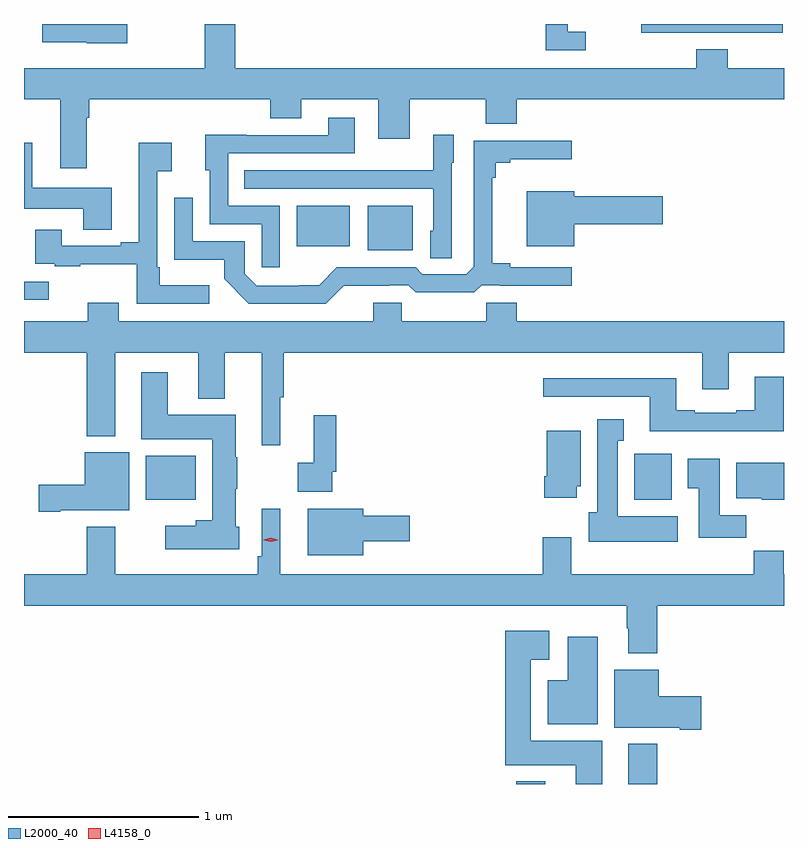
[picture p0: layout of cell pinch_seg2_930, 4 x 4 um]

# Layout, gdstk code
import gdstk
lib = gdstk.Library(unit=1e-6, precision=1e-09)
def R(c, l, rs):  # rectangles x0, y0, x1, y1
    for r in rs: c.add(gdstk.rectangle(r[:2], r[2:], *l))
def P(c, l, *ps):  # polygons
    for p in ps: c.add(gdstk.Polygon(p, *l))
L2000_40 = (2000, 40)
L4158_0 = (4158, 0)

pinch_seg2_930 = lib.new_cell('pinch_seg2_930')
R(pinch_seg2_930, L2000_40, [(362.321,648.029,362.473,648.043), (362.909,648.029,363.062,648.241), (360.371,649.526,360.634,649.756), (362.942,649.526,363.139,649.768), (359.73,650.579,359.86,650.673), (361.538,650.837,361.777,651.073), (361.166,650.858,361.444,651.073), (362.979,651.984,363.724,652.029)])
P(pinch_seg2_930, L2000_40, [(360.061,651.536),(360.074,651.536),(360.074,651.632),(361.025,651.632),(361.025,651.533),(361.189,651.533),(361.189,651.632),(361.595,651.632),(361.595,651.426),(361.759,651.426),(361.759,651.632),(362.159,651.632),(362.159,651.504),(362.323,651.504),(362.323,651.632),(363.73,651.632),(363.73,651.796),(363.434,651.796),(363.434,651.895),(363.269,651.895),(363.269,651.796),(360.842,651.796),(360.842,652.029),(360.682,652.029),(360.682,651.796),(359.73,651.796),(359.73,651.632),(359.921,651.632),(359.921,651.27),(360.061,651.27)],
  [(362.686,651.988),(362.592,651.988),(362.592,652.029),(362.476,652.029),(362.476,651.891),(362.686,651.891)],
  [(360.274,652.029),(359.826,652.029),(359.826,651.932),(360.06,651.932),(360.06,651.929),(360.274,651.929)],
  [(361.077,651.072),(360.804,651.072),(360.804,651.348),(361.471,651.348),(361.471,651.535),(361.331,651.535),(361.331,651.444),(360.901,651.444),(360.901,651.446),(360.683,651.446),(360.683,651.258),(360.708,651.258),(360.708,650.976),(360.981,650.976),(360.981,650.748),(361.077,650.748)],
  [(361.98,651.3),(361.993,651.3),(361.993,651.445),(361.884,651.445),(361.884,651.259),(361.567,651.259),(361.567,651.258),(360.889,651.258),(360.889,651.162),(361.884,651.162),(361.884,650.94),(361.868,650.94),(361.868,650.797),(361.98,650.797)],
  [(361.412,650.651),(361.652,650.651),(361.652,650.655),(361.752,650.655),(361.792,650.616),(362.099,650.616),(362.139,650.655),(362.233,650.655),(362.233,650.651),(362.614,650.651),(362.614,650.748),(362.29,650.748),(362.29,650.771),(362.195,650.771),(362.195,651.221),(362.213,651.221),(362.213,651.298),(362.29,651.298),(362.29,651.317),(362.614,651.317),(362.614,651.414),(362.097,651.414),(362.097,650.751),(362.058,650.712),(361.827,650.712),(361.791,650.748),(361.377,650.748),(361.283,650.654),(361.178,650.654),(361.178,650.652),(360.954,650.652),(360.891,650.715),(360.891,650.886),(360.618,650.886),(360.618,651.115),(360.522,651.115),(360.522,650.789),(360.784,650.789),(360.784,650.687),(360.914,650.556),(361.317,650.556)],
  [(360.193,651.166),(359.773,651.166),(359.773,651.403),(359.73,651.403),(359.73,651.056),(360.041,651.056),(360.041,650.947),(360.193,650.947)],
  [(360.706,650.653),(360.445,650.653),(360.445,650.749),(360.432,650.749),(360.432,651.254),(360.508,651.254),(360.508,651.403),(360.335,651.403),(360.335,650.881),(360.239,650.881),(360.239,650.862),(359.929,650.862),(359.929,650.947),(359.789,650.947),(359.789,650.766),(359.893,650.766),(359.893,650.754),(360.025,650.754),(360.025,650.765),(360.324,650.765),(360.324,650.556),(360.706,650.556)],
  [(362.626,650.975),(363.091,650.975),(363.091,651.122),(362.626,651.122),(362.626,651.148),(362.375,651.148),(362.375,650.858),(362.626,650.858)],
  [(361.079,650.064),(361.097,650.064),(361.097,650.3),(363.299,650.3),(363.299,650.106),(363.439,650.106),(363.439,650.3),(363.73,650.3),(363.73,650.464),(362.324,650.464),(362.324,650.562),(362.164,650.562),(362.164,650.464),(361.719,650.464),(361.719,650.562),(361.568,650.562),(361.568,650.464),(360.229,650.464),(360.229,650.563),(360.065,650.563),(360.065,650.464),(359.73,650.464),(359.73,650.3),(360.059,650.3),(360.059,649.859),(360.211,649.859),(360.211,650.3),(360.647,650.3),(360.647,650.057),(360.787,650.057),(360.787,650.3),(360.98,650.3),(360.98,649.812),(361.079,649.812)],
  [(360.862,649.383),(360.844,649.383),(360.844,649.583),(360.852,649.583),(360.852,649.748),(360.844,649.748),(360.844,649.972),(360.487,649.972),(360.487,650.197),(360.347,650.197),(360.347,649.844),(360.722,649.844),(360.722,649.417),(360.635,649.417),(360.635,649.387),(360.474,649.387),(360.474,649.265),(360.862,649.265)],
  [(363.728,650.173),(363.575,650.173),(363.575,649.996),(363.479,649.996),(363.479,649.983),(363.259,649.983),(363.259,649.996),(363.163,649.996),(363.163,650.164),(362.463,650.164),(362.463,650.067),(363.023,650.067),(363.023,649.886),(363.728,649.886)],
  [(361.353,649.672),(361.373,649.672),(361.373,649.969),(361.256,649.969),(361.256,649.721),(361.17,649.721),(361.17,649.568),(361.353,649.568)],
  [(363.172,649.438),(362.854,649.438),(362.854,649.835),(362.887,649.835),(362.887,649.948),(362.747,649.948),(362.747,649.458),(362.702,649.458),(362.702,649.304),(363.172,649.304)],
  [(362.638,649.596),(362.659,649.596),(362.659,649.888),(362.48,649.888),(362.48,649.648),(362.468,649.648),(362.468,649.536),(362.638,649.536)],
  [(359.92,649.469),(360.283,649.469),(360.283,649.774),(360.05,649.774),(360.05,649.604),(359.808,649.604),(359.808,649.462),(359.92,649.462)],
  [(363.53,649.444),(363.391,649.444),(363.391,649.741),(363.224,649.741),(363.224,649.585),(363.281,649.585),(363.281,649.326),(363.53,649.326)],
  [(363.73,649.72),(363.479,649.72),(363.479,649.532),(363.612,649.532),(363.612,649.526),(363.73,649.526)],
  [(361.516,649.307),(361.759,649.307),(361.759,649.442),(361.516,649.442),(361.516,649.477),(361.223,649.477),(361.223,649.232),(361.516,649.232)],
  [(363.062,648.968),(363.73,648.968),(363.73,649.132),(363.728,649.132),(363.728,649.256),(363.571,649.256),(363.571,649.132),(362.611,649.132),(362.611,649.327),(362.459,649.327),(362.459,649.132),(361.078,649.132),(361.078,649.477),(360.981,649.477),(360.981,649.228),(360.961,649.228),(360.961,649.132),(360.211,649.132),(360.211,649.384),(360.059,649.384),(360.059,649.132),(359.73,649.132),(359.73,648.968),(362.902,648.968),(362.902,648.848),(362.909,648.848),(362.909,648.716),(363.062,648.716)],
  [(362.773,648.256),(362.398,648.256),(362.398,648.683),(362.494,648.683),(362.494,648.835),(362.264,648.835),(362.264,648.128),(362.633,648.128),(362.633,648.029),(362.773,648.029)],
  [(362.749,648.805),(362.591,648.805),(362.591,648.574),(362.486,648.574),(362.486,648.344),(362.749,648.344)],
  [(363.295,648.492),(363.07,648.492),(363.07,648.631),(362.837,648.631),(362.837,648.326),(363.182,648.326),(363.182,648.314),(363.295,648.314)])
P(pinch_seg2_930, L4158_0, [(361.029,649.304),(360.993,649.313),(360.993,649.314),(360.993,649.314),(361.029,649.324),(361.065,649.314),(361.065,649.313),(361.065,649.313)])

lib.write_gds('pinch_seg2_930.gds')
